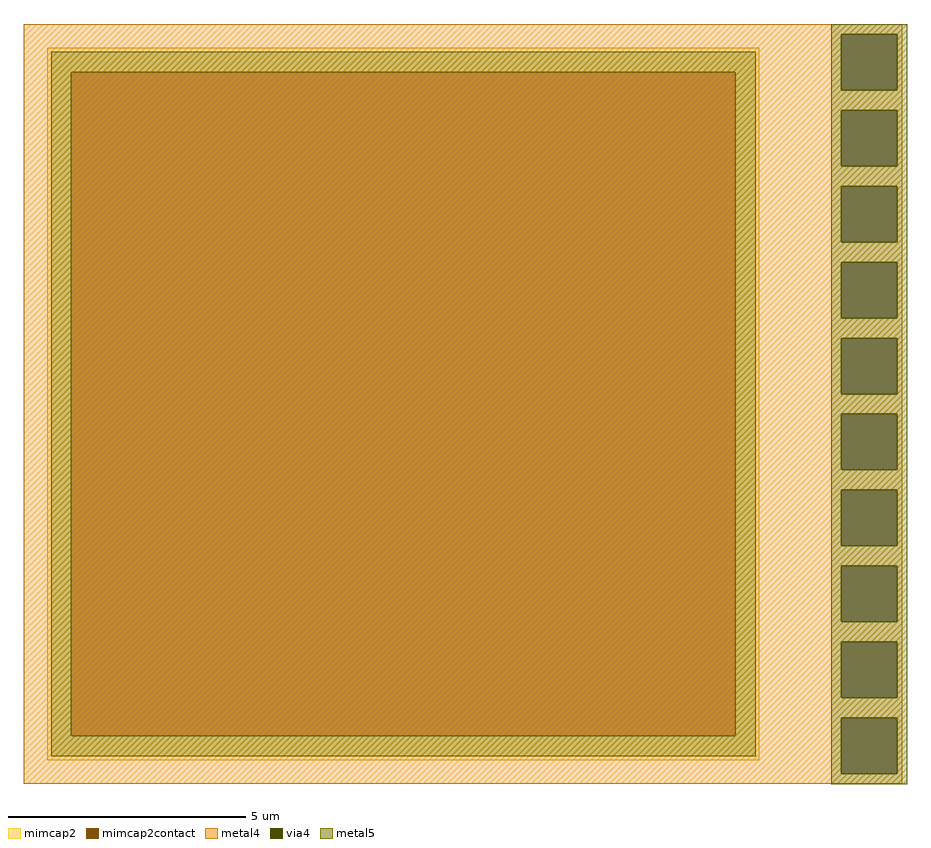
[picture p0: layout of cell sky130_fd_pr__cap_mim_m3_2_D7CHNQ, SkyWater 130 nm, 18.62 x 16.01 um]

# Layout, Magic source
magic
tech sky130A
magscale 1 2
<< metal4 >>
rect -1851 1558 1851 1600
rect -1851 1322 1595 1558
rect 1831 1322 1851 1558
rect -1851 1238 1851 1322
rect -1851 1002 1595 1238
rect 1831 1002 1851 1238
rect -1851 918 1851 1002
rect -1851 682 1595 918
rect 1831 682 1851 918
rect -1851 598 1851 682
rect -1851 362 1595 598
rect 1831 362 1851 598
rect -1851 278 1851 362
rect -1851 42 1595 278
rect 1831 42 1851 278
rect -1851 -42 1851 42
rect -1851 -278 1595 -42
rect 1831 -278 1851 -42
rect -1851 -362 1851 -278
rect -1851 -598 1595 -362
rect 1831 -598 1851 -362
rect -1851 -682 1851 -598
rect -1851 -918 1595 -682
rect 1831 -918 1851 -682
rect -1851 -1002 1851 -918
rect -1851 -1238 1595 -1002
rect 1831 -1238 1851 -1002
rect -1851 -1322 1851 -1238
rect -1851 -1558 1595 -1322
rect 1831 -1558 1851 -1322
rect -1851 -1600 1851 -1558
<< via4 >>
rect 1595 1322 1831 1558
rect 1595 1002 1831 1238
rect 1595 682 1831 918
rect 1595 362 1831 598
rect 1595 42 1831 278
rect 1595 -278 1831 -42
rect 1595 -598 1831 -362
rect 1595 -918 1831 -682
rect 1595 -1238 1831 -1002
rect 1595 -1558 1831 -1322
<< mimcap2 >>
rect -1751 1398 1249 1500
rect -1751 -1398 -1649 1398
rect 1147 -1398 1249 1398
rect -1751 -1500 1249 -1398
<< mimcap2contact >>
rect -1649 -1398 1147 1398
<< metal5 >>
rect 1553 1558 1873 1601
rect -1735 1398 1233 1484
rect -1735 -1398 -1649 1398
rect 1147 -1398 1233 1398
rect -1735 -1484 1233 -1398
rect 1553 1322 1595 1558
rect 1831 1322 1873 1558
rect 1553 1238 1873 1322
rect 1553 1002 1595 1238
rect 1831 1002 1873 1238
rect 1553 918 1873 1002
rect 1553 682 1595 918
rect 1831 682 1873 918
rect 1553 598 1873 682
rect 1553 362 1595 598
rect 1831 362 1873 598
rect 1553 278 1873 362
rect 1553 42 1595 278
rect 1831 42 1873 278
rect 1553 -42 1873 42
rect 1553 -278 1595 -42
rect 1831 -278 1873 -42
rect 1553 -362 1873 -278
rect 1553 -598 1595 -362
rect 1831 -598 1873 -362
rect 1553 -682 1873 -598
rect 1553 -918 1595 -682
rect 1831 -918 1873 -682
rect 1553 -1002 1873 -918
rect 1553 -1238 1595 -1002
rect 1831 -1238 1873 -1002
rect 1553 -1322 1873 -1238
rect 1553 -1558 1595 -1322
rect 1831 -1558 1873 -1322
rect 1553 -1601 1873 -1558
<< properties >>
string FIXED_BBOX -1851 -1600 1349 1600
<< end >>
